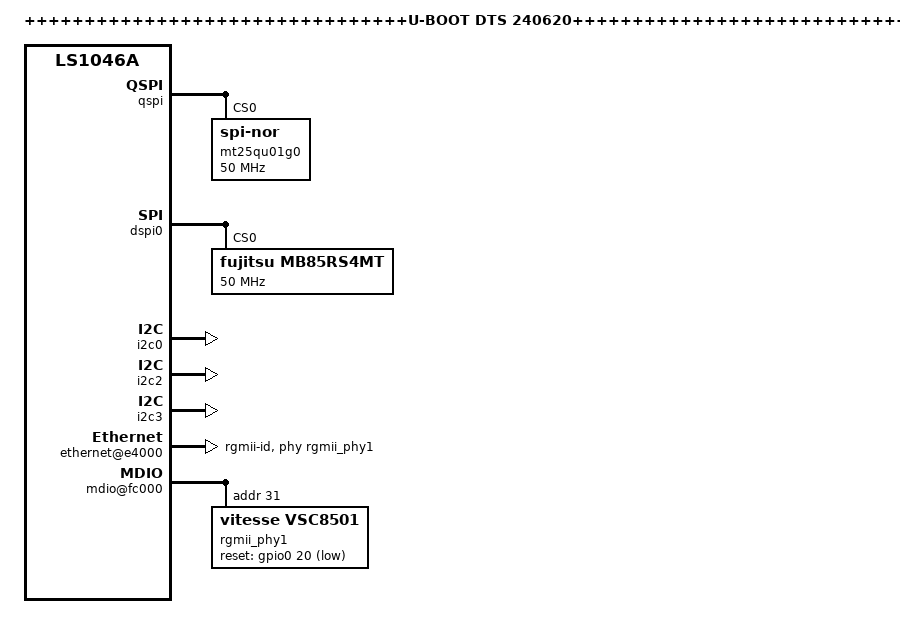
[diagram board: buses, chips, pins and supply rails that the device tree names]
// SPDX-License-Identifier: GPL-2.0+ OR X11
/*
 * Device Tree Include file for NXP Layerscape-1046A family SoC.
 *
 * Copyright 2019 NXP
 *
 */

/dts-v1/;
/include/ "fsl-ls1046a.dtsi"
#include "dt-bindings/gpio/gpio.h" 


/ {
    model = "++++++++++++++++++++++++++++++++U-BOOT DTS 240620++++++++++++++++++++++++++++";

    aliases {
        spi0 = &qspi;
        spi1 = &dspi0;
        gpio0 =&gpio0;
        
    };
};

&qspi {
    status = "okay";

    mt25qu01g0: flash@0 {
        #address-cells = <1>;
        #size-cells = <1>;
        compatible = "jedec,spi-nor";
        spi-max-frequency = <50000000>;
        reg = <0>;
    };
};

&dspi0 {
    status = "okay";

    mb85rs4mt: fram@0 {
        #address-cells = <1>;
        #size-cells = <1>;
        compatible = "fujitsu,mb85rs4mt";
        spi-max-frequency = <50000000>;
        reg = <0>;
    };
};

&i2c0 {
    status = "okay";
};

&i2c2 {
    status = "okay";
};

&i2c3 {
    status = "okay";
};

#include "fsl-ls1046-post.dtsi"

&fman0 {
    ethernet@e4000 {
        phy-handle = <&rgmii_phy1>;
        phy-connection-type = "rgmii-id";
        status = "okay";
    };

    mdio@fc000 {
        rgmii_phy1: ethernet-phy@1 {
            compatible = "vitesse,vsc8501";
            device_type = "ethernet-phy";
            reg = <0x1f>;
   reset-gpios = <&gpio0 20 GPIO_ACTIVE_LOW>;
        };
    };
};

